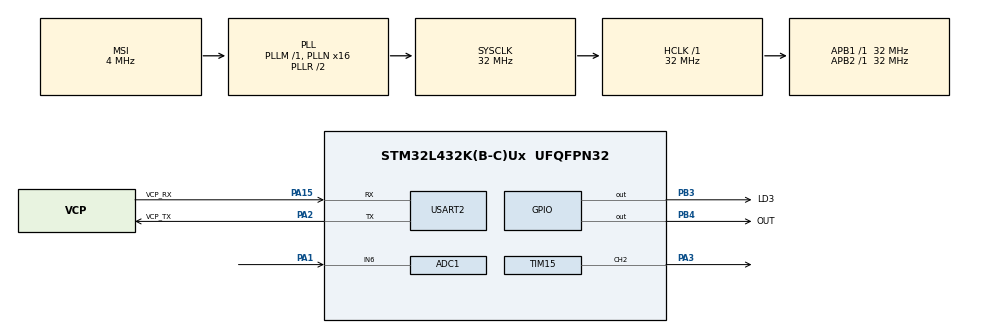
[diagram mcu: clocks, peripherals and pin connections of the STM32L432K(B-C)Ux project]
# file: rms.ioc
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ADC1.Channel-0\#ChannelRegularConversion=ADC_CHANNEL_6
ADC1.DMAContinuousRequests=ENABLE
ADC1.ExternalTrigConv=ADC_EXTERNALTRIG_T15_TRGO
ADC1.ExternalTrigConvEdge=ADC_EXTERNALTRIGCONVEDGE_FALLING
ADC1.NbrOfConversionFlag=1
ADC1.OffsetNumber-0\#ChannelRegularConversion=ADC_OFFSET_NONE
ADC1.Rank-0\#ChannelRegularConversion=1
ADC1.SamplingTime-0\#ChannelRegularConversion=ADC_SAMPLETIME_2CYCLES_5
ADC1.master=1
Dma.ADC1.0.Direction=DMA_PERIPH_TO_MEMORY
Dma.ADC1.0.Instance=DMA1_Channel1
Dma.ADC1.0.MemDataAlignment=DMA_MDATAALIGN_HALFWORD
Dma.ADC1.0.MemInc=DMA_MINC_ENABLE
Dma.ADC1.0.Mode=DMA_NORMAL
Dma.ADC1.0.PeriphDataAlignment=DMA_PDATAALIGN_HALFWORD
Dma.ADC1.0.PeriphInc=DMA_PINC_DISABLE
Dma.ADC1.0.Priority=DMA_PRIORITY_HIGH
Dma.Request0=ADC1
Mcu.Family=STM32L4
Mcu.Name=STM32L432K(B-C)Ux
Mcu.Package=UFQFPN32
NVIC.DMA1_Channel1_IRQn=true\:0\:0\:false\:false\:true\:false\:true\:true
NVIC.PriorityGroup=NVIC_PRIORITYGROUP_4
NVIC.RTC_WKUP_IRQn=true\:0\:0\:false\:false\:true\:true\:true\:true
PA0.GPIO_Label=MCO [High speed clock in]
PA0.Mode=HSE-External-Clock-Source-for-LittleOrca
PA0.Signal=RCC_CK_IN
PA1.Signal=ADCx_IN6
PA13\ (JTMS-SWDIO).GPIO_Label=SWDIO
PA13\ (JTMS-SWDIO).Mode=Serial_Wire
PA13\ (JTMS-SWDIO).Signal=SYS_JTMS-SWDIO
PA14\ (JTCK-SWCLK).GPIO_Label=SWCLK
PA14\ (JTCK-SWCLK).Mode=Serial_Wire
PA14\ (JTCK-SWCLK).Signal=SYS_JTCK-SWCLK
PA15\ (JTDI).GPIO_Label=VCP_RX
PA15\ (JTDI).Mode=Asynchronous
PA15\ (JTDI).Signal=USART2_RX
PA2.GPIO_Label=VCP_TX
PA2.Mode=Asynchronous
PA2.Signal=USART2_TX
PA3.Signal=S_TIM15_CH2
PB3\ (JTDO-TRACESWO).GPIO_Label=LD3
PB3\ (JTDO-TRACESWO).Signal=GPIO_Output
PB4\ (NJTRST).GPIO_Label=OUT
PB4\ (NJTRST).Signal=GPIO_Output
PC14-OSC32_IN\ (PC14).Mode=LSE-External-Oscillator
PC14-OSC32_IN\ (PC14).Signal=RCC_OSC32_IN
PC15-OSC32_OUT\ (PC15).Mode=LSE-External-Oscillator
PC15-OSC32_OUT\ (PC15).Signal=RCC_OSC32_OUT
ProjectManager.HeapSize=0x200
ProjectManager.StackSize=0x400
ProjectManager.TargetToolchain=Makefile
RCC.ADCFreq_Value=32000000
RCC.AHBFreq_Value=32000000
RCC.APB1Freq_Value=32000000
RCC.APB1TimFreq_Value=32000000
RCC.APB2Freq_Value=32000000
RCC.APB2TimFreq_Value=32000000
RCC.CortexFreq_Value=32000000
RCC.HCLKFreq_Value=32000000
RCC.HSE_VALUE=8000000
RCC.HSI16_VALUE=16000000
RCC.HSI48_VALUE=48000000
RCC.HSI_VALUE=16000000
RCC.MSI_VALUE=4000000
RCC.PLLMUL=RCC_PLLMUL_4
RCC.PLLN=16
RCC.PLLSAI1N=16
RCC.SYSCLKFreq_VALUE=32000000
RCC.SYSCLKSource=RCC_SYSCLKSOURCE_PLLCLK
RCC.USBFreq_Value=32000000
RCC.VCOOutputFreq_Value=64000000
RTC.WakeUpCounter=2047
SH.ADCx_IN6.0=ADC1_IN6,IN6-Single-Ended
SH.S_TIM15_CH2.0=TIM15_CH2,PWM Generation2 CH2
TIM15.Channel-PWM\ Generation2\ CH2=TIM_CHANNEL_2
TIM15.Period=4000
TIM15.Pulse-PWM\ Generation2\ CH2=320
TIM15.TIM_MasterOutputTrigger=TIM_TRGO_OC2REF
USART2.VirtualMode-Asynchronous=VM_ASYNC
VP_RTC_VS_RTC_Activate.Mode=RTC_Enabled
VP_RTC_VS_RTC_WakeUp_intern.Mode=WakeUp
board=NUCLEO-L432KC

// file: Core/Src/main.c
/* USER CODE BEGIN Header */
/**
 ******************************************************************************
 * @file           : main.c
 * @brief          : Main program body
 ******************************************************************************
 * @attention
 *
 * Copyright (c) 2026 STMicroelectronics.
 * All rights reserved.
 *
 * This software is licensed under terms that can be found in the LICENSE file
 * in the root directory of this software component.
 * If no LICENSE file comes with this software, it is provided AS-IS.
 *
 ******************************************************************************
 */
/* USER CODE END Header */
#include "main.h"

/* USER CODE BEGIN Includes */
#include <stdio.h>
#include <string.h>
#include <math.h>
/* USER CODE END Includes */

/* USER CODE BEGIN PD */
#define THRESHOLD 6
#define HOLD_TIME_MS 5000
#define REQUIRED_HITS 16
#define ADC_BUFFER_SIZE 2048
#define RTC_WAKEUP_INTERVAL 1000 // in ms
#define RTC_CLOCK_FREQUENCY (32768 / 16)
#define WUT (((RTC_WAKEUP_INTERVAL / 1000) * RTC_CLOCK_FREQUENCY) - 1)
/* USER CODE END PD */

ADC_HandleTypeDef hadc1;
DMA_HandleTypeDef hdma_adc1;

RTC_HandleTypeDef hrtc;

TIM_HandleTypeDef htim15;

UART_HandleTypeDef huart2;

/* USER CODE BEGIN PV */

volatile uint16_t adc_buffer[ADC_BUFFER_SIZE];

volatile uint8_t rtc_wakeup = 0;
volatile uint8_t dma_ready = 0;

volatile uint8_t signal_detected = 0;
volatile uint32_t last_trigger_time = 0;
uint8_t hit_counter = 0;
uint32_t rtc_ms = 0;

// CPU MESSUNG
char msg[256];

#define CPU_MEASURE_BLOCKS 10

volatile uint32_t average_processing_cycles;
volatile uint64_t total_processing_cycles = 0;
volatile uint32_t measured_blocks = 0;

volatile uint32_t min_processing_cycles = UINT32_MAX;
volatile uint32_t max_processing_cycles = 0;

volatile uint32_t average_processing_time_us = 0;
volatile uint32_t min_processing_time_us = 0;
volatile uint32_t max_processing_time_us = 0;

volatile uint32_t average_cpu_load_x100 = 0;
volatile uint32_t min_cpu_load_x100 = 0;
volatile uint32_t max_cpu_load_x100 = 0;

volatile uint32_t total_block_time_us = 0;
volatile uint32_t block_time_us = 0;
volatile uint32_t avg_block_time = 0;
/* USER CODE END PV */

void SystemClock_Config(void);
static void MX_GPIO_Init(void);
static void MX_DMA_Init(void);
static void MX_ADC1_Init(void);
static void MX_TIM15_Init(void);
static void MX_RTC_Init(void);
static void MX_USART2_UART_Init(void);

/* USER CODE BEGIN 0 */
static void DWT_Init(void)
{
  CoreDebug->DEMCR |= CoreDebug_DEMCR_TRCENA_Msk;

  DWT->CYCCNT = 0;

  DWT->CTRL |= DWT_CTRL_CYCCNTENA_Msk;
}

void HAL_RTCEx_WakeUpTimerEventCallback(RTC_HandleTypeDef *hrtc)
{
  rtc_wakeup = 1;
}

void HAL_ADC_ConvCpltCallback(ADC_HandleTypeDef *hadc)
{
  dma_ready = 1;
}

uint16_t findOffset(uint16_t *buffer, uint16_t length)
{
  uint32_t sum = 0;

  for (uint16_t i = 0; i < length; i++)
  {
    sum += buffer[i];
  }

  return sum / length;
}

uint16_t calculateRMS(uint16_t *buffer, uint16_t length, uint16_t offset)
{
  int64_t sum = 0;
  for (uint16_t i = 0; i < length; i++)
  {
    int32_t centered = (int32_t)buffer[i] - offset;

    sum += (uint64_t)(centered * centered);
  }
  return (uint16_t)sqrtf((float)sum / length);
}

void ProcessAudioBlock(uint16_t *buffer, uint16_t length)
{
  const uint16_t offset = findOffset(buffer, length);
  const uint16_t blocks = REQUIRED_HITS * 2;
  const uint16_t block_size = length / blocks;

  for (uint16_t i = 0; i < blocks; i++)
  {
    // RMS-Berechnung
    uint16_t blockRMS = calculateRMS(&buffer[i * block_size], block_size, offset);

    // Schwellwertüberschreitung
    if (blockRMS > THRESHOLD)
    {
      last_trigger_time = rtc_ms;
      if (hit_counter < REQUIRED_HITS)
      {
        hit_counter++;
      }
    }
    else
    {
      hit_counter = 0;
    }

    // Signal erkannt
    if (!signal_detected && hit_counter >= REQUIRED_HITS)
    {
      signal_detected = 1;
      HAL_GPIO_WritePin(OUT_GPIO_Port, OUT_Pin, GPIO_PIN_SET);
    }

    // Wenn 5s kein Signal -> OFF
    if (signal_detected && (rtc_ms - last_trigger_time > HOLD_TIME_MS))
    {
      signal_detected = 0;
      HAL_GPIO_WritePin(OUT_GPIO_Port, OUT_Pin, GPIO_PIN_RESET);
    }
  }
}
/* USER CODE END 0 */

int main(void)
{

  /* MCU Configuration--------------------------------------------------------*/

  /* Reset of all peripherals, Initializes the Flash interface and the Systick. */
  HAL_Init();

  /* Configure the system clock */
  SystemClock_Config();

  /* Initialize all configured peripherals */
  MX_GPIO_Init();
  MX_DMA_Init();
  MX_ADC1_Init();
  MX_TIM15_Init();
  MX_RTC_Init();
  MX_USART2_UART_Init();
  /* USER CODE BEGIN 2 */
  HAL_RTCEx_SetWakeUpTimer_IT(&hrtc, WUT, RTC_WAKEUPCLOCK_RTCCLK_DIV16);
  DWT_Init();

  int str = snprintf(
      msg,
      sizeof(msg),
      "blocks;avg_cycles;min_cycles;max_cycles;"
      "avg_us;min_us;max_us;"
      "avg_load;min_load;max_load;avg_block_time\r\n");

  HAL_UART_Transmit(
      &huart2,
      (uint8_t *)msg,
      str,
      HAL_MAX_DELAY);

  /* USER CODE END 2 */

  /* Infinite loop */
  /* USER CODE BEGIN WHILE */
  while (1)
  {
    if (rtc_wakeup)
    {
      rtc_ms += RTC_WAKEUP_INTERVAL;
      HAL_TIM_PWM_Start(&htim15, TIM_CHANNEL_2);
      HAL_ADC_Start_DMA(&hadc1, (uint32_t *)adc_buffer, ADC_BUFFER_SIZE);
      rtc_wakeup = 0;
    }

    if (dma_ready)
    {
      HAL_ADC_Stop_DMA(&hadc1);
      HAL_TIM_PWM_Stop(&htim15, TIM_CHANNEL_2);
      dma_ready = 0;
      uint32_t start = DWT->CYCCNT;
      ProcessAudioBlock((uint16_t *)adc_buffer, ADC_BUFFER_SIZE);
      uint32_t cycles = DWT->CYCCNT - start;
      block_time_us = HAL_GetTick() - block_time_us;
      // Messwerte sammeln

      total_processing_cycles += cycles;
      measured_blocks++;
      total_block_time_us += block_time_us;
      // Minimum
      if (cycles < min_processing_cycles)
      {
        min_processing_cycles = cycles;
      }

      // Maximum
      if (cycles > max_processing_cycles)
      {
        max_processing_cycles = cycles;
      }

      // Mittelwerte berechnen

      if (measured_blocks >= CPU_MEASURE_BLOCKS)
      {
        /* Durchschnittliche CPU-Zyklen */
        average_processing_cycles = total_processing_cycles / measured_blocks;

        avg_block_time = total_block_time_us / measured_blocks;

        // Zyklen -> Zeit in Mikrosekunden

        average_processing_time_us =
            (uint32_t)(((uint64_t)average_processing_cycles * 1000000ULL) / SystemCoreClock);

        min_processing_time_us =
            (uint32_t)(((uint64_t)min_processing_cycles * 1000000ULL) / SystemCoreClock);

        max_processing_time_us =
            (uint32_t)(((uint64_t)max_processing_cycles * 1000000ULL) / SystemCoreClock);

        // CPU-Auslastung

        average_cpu_load_x100 =
            (uint32_t)(((uint64_t)average_processing_time_us * 10000ULL) / (avg_block_time * 1000UL));

        min_cpu_load_x100 =
            (uint32_t)(((uint64_t)min_processing_time_us * 10000ULL) / (avg_block_time * 1000UL));

        max_cpu_load_x100 =
            (uint32_t)(((uint64_t)max_processing_time_us * 10000ULL) / (avg_block_time * 1000UL));

        int len = snprintf(
            msg,
            sizeof(msg),
            "%lu;"
            "%lu;"
            "%lu;"
            "%lu;"
            "%lu;"
            "%lu;"
            "%lu;"
            "%lu,%02lu%%;"
            "%lu,%02lu%%;"
            "%lu,%02lu%%;"
            "%lu\r\n",

            (unsigned long)CPU_MEASURE_BLOCKS,

            (unsigned long)average_processing_cycles,
            (unsigned long)min_processing_cycles,
            (unsigned long)max_processing_cycles,

            (unsigned long)average_processing_time_us,
            (unsigned long)min_processing_time_us,
            (unsigned long)max_processing_time_us,

            (unsigned long)(average_cpu_load_x100 / 100),
            (unsigned long)(average_cpu_load_x100 % 100),

            (unsigned long)(min_cpu_load_x100 / 100),
            (unsigned long)(min_cpu_load_x100 % 100),

            (unsigned long)(max_cpu_load_x100 / 100),
            (unsigned long)(max_cpu_load_x100 % 100),

            (unsigned long)(avg_block_time));

        HAL_UART_Transmit(
            &huart2,
            (uint8_t *)msg,
            len,
            HAL_MAX_DELAY);

        // Messwerte zurücksetzen
        total_block_time_us = 0;
        total_processing_cycles = 0;
        measured_blocks = 0;

        min_processing_cycles = UINT32_MAX;
        max_processing_cycles = 0;
        total_block_time_us = 0;
      }
    }
    // Energieoptimierung
    HAL_SuspendTick();
    HAL_PWR_EnterSLEEPMode(PWR_LOWPOWERREGULATOR_ON, PWR_SLEEPENTRY_WFI);
    HAL_ResumeTick();
    /* USER CODE END WHILE */

  }
}

void SystemClock_Config(void)
{
  RCC_OscInitTypeDef RCC_OscInitStruct = {0};
  RCC_ClkInitTypeDef RCC_ClkInitStruct = {0};

  /** Configure the main internal regulator output voltage
   */
  if (HAL_PWREx_ControlVoltageScaling(PWR_REGULATOR_VOLTAGE_SCALE1) != HAL_OK)
  {
    Error_Handler();
  }

  /** Configure LSE Drive Capability
   */
  HAL_PWR_EnableBkUpAccess();
  __HAL_RCC_LSEDRIVE_CONFIG(RCC_LSEDRIVE_LOW);

  /** Initializes the RCC Oscillators according to the specified parameters
   * in the RCC_OscInitTypeDef structure.
   */
  RCC_OscInitStruct.OscillatorType = RCC_OSCILLATORTYPE_LSI | RCC_OSCILLATORTYPE_LSE | RCC_OSCILLATORTYPE_MSI;
  RCC_OscInitStruct.LSEState = RCC_LSE_ON;
  RCC_OscInitStruct.LSIState = RCC_LSI_ON;
  RCC_OscInitStruct.MSIState = RCC_MSI_ON;
  RCC_OscInitStruct.MSICalibrationValue = 0;
  RCC_OscInitStruct.MSIClockRange = RCC_MSIRANGE_6;
  RCC_OscInitStruct.PLL.PLLState = RCC_PLL_ON;
  RCC_OscInitStruct.PLL.PLLSource = RCC_PLLSOURCE_MSI;
  RCC_OscInitStruct.PLL.PLLM = 1;
  RCC_OscInitStruct.PLL.PLLN = 16;
  RCC_OscInitStruct.PLL.PLLP = RCC_PLLP_DIV7;
  RCC_OscInitStruct.PLL.PLLQ = RCC_PLLQ_DIV2;
  RCC_OscInitStruct.PLL.PLLR = RCC_PLLR_DIV2;
  if (HAL_RCC_OscConfig(&RCC_OscInitStruct) != HAL_OK)
  {
    Error_Handler();
  }

  /** Initializes the CPU, AHB and APB buses clocks
   */
  RCC_ClkInitStruct.ClockType = RCC_CLOCKTYPE_HCLK | RCC_CLOCKTYPE_SYSCLK | RCC_CLOCKTYPE_PCLK1 | RCC_CLOCKTYPE_PCLK2;
  RCC_ClkInitStruct.SYSCLKSource = RCC_SYSCLKSOURCE_PLLCLK;
  RCC_ClkInitStruct.AHBCLKDivider = RCC_SYSCLK_DIV1;
  RCC_ClkInitStruct.APB1CLKDivider = RCC_HCLK_DIV1;
  RCC_ClkInitStruct.APB2CLKDivider = RCC_HCLK_DIV1;

  if (HAL_RCC_ClockConfig(&RCC_ClkInitStruct, FLASH_LATENCY_1) != HAL_OK)
  {
    Error_Handler();
  }

  /** Enable MSI Auto calibration
   */
  HAL_RCCEx_EnableMSIPLLMode();
}

static void MX_ADC1_Init(void)
{

  ADC_ChannelConfTypeDef sConfig = {0};

  /** Common config
   */
  hadc1.Instance = ADC1;
  hadc1.Init.ClockPrescaler = ADC_CLOCK_ASYNC_DIV1;
  hadc1.Init.Resolution = ADC_RESOLUTION_12B;
  hadc1.Init.DataAlign = ADC_DATAALIGN_RIGHT;
  hadc1.Init.ScanConvMode = ADC_SCAN_DISABLE;
  hadc1.Init.EOCSelection = ADC_EOC_SINGLE_CONV;
  hadc1.Init.LowPowerAutoWait = DISABLE;
  hadc1.Init.ContinuousConvMode = DISABLE;
  hadc1.Init.NbrOfConversion = 1;
  hadc1.Init.DiscontinuousConvMode = DISABLE;
  hadc1.Init.ExternalTrigConv = ADC_EXTERNALTRIG_T15_TRGO;
  hadc1.Init.ExternalTrigConvEdge = ADC_EXTERNALTRIGCONVEDGE_FALLING;
  hadc1.Init.DMAContinuousRequests = ENABLE;
  hadc1.Init.Overrun = ADC_OVR_DATA_PRESERVED;
  hadc1.Init.OversamplingMode = DISABLE;
  if (HAL_ADC_Init(&hadc1) != HAL_OK)
  {
    Error_Handler();
  }

  /** Configure Regular Channel
   */
  sConfig.Channel = ADC_CHANNEL_6;
  sConfig.Rank = ADC_REGULAR_RANK_1;
  sConfig.SamplingTime = ADC_SAMPLETIME_2CYCLES_5;
  sConfig.SingleDiff = ADC_SINGLE_ENDED;
  sConfig.OffsetNumber = ADC_OFFSET_NONE;
  sConfig.Offset = 0;
  if (HAL_ADC_ConfigChannel(&hadc1, &sConfig) != HAL_OK)
  {
    Error_Handler();
  }
}

static void MX_RTC_Init(void)
{

  /** Initialize RTC Only
   */
  hrtc.Instance = RTC;
  hrtc.Init.HourFormat = RTC_HOURFORMAT_24;
  hrtc.Init.AsynchPrediv = 127;
  hrtc.Init.SynchPrediv = 255;
  hrtc.Init.OutPut = RTC_OUTPUT_DISABLE;
  hrtc.Init.OutPutRemap = RTC_OUTPUT_REMAP_NONE;
  hrtc.Init.OutPutPolarity = RTC_OUTPUT_POLARITY_HIGH;
  hrtc.Init.OutPutType = RTC_OUTPUT_TYPE_OPENDRAIN;
  if (HAL_RTC_Init(&hrtc) != HAL_OK)
  {
    Error_Handler();
  }
}

static void MX_TIM15_Init(void)
{

  TIM_MasterConfigTypeDef sMasterConfig = {0};
  TIM_OC_InitTypeDef sConfigOC = {0};
  TIM_BreakDeadTimeConfigTypeDef sBreakDeadTimeConfig = {0};

  htim15.Instance = TIM15;
  htim15.Init.Prescaler = 0;
  htim15.Init.CounterMode = TIM_COUNTERMODE_UP;
  htim15.Init.Period = 4000;
  htim15.Init.ClockDivision = TIM_CLOCKDIVISION_DIV1;
  htim15.Init.RepetitionCounter = 0;
  htim15.Init.AutoReloadPreload = TIM_AUTORELOAD_PRELOAD_DISABLE;
  if (HAL_TIM_PWM_Init(&htim15) != HAL_OK)
  {
    Error_Handler();
  }
  sMasterConfig.MasterOutputTrigger = TIM_TRGO_OC2REF;
  sMasterConfig.MasterSlaveMode = TIM_MASTERSLAVEMODE_DISABLE;
  if (HAL_TIMEx_MasterConfigSynchronization(&htim15, &sMasterConfig) != HAL_OK)
  {
    Error_Handler();
  }
  sConfigOC.OCMode = TIM_OCMODE_PWM1;
  sConfigOC.Pulse = 320;
  sConfigOC.OCPolarity = TIM_OCPOLARITY_HIGH;
  sConfigOC.OCNPolarity = TIM_OCNPOLARITY_HIGH;
  sConfigOC.OCFastMode = TIM_OCFAST_DISABLE;
  sConfigOC.OCIdleState = TIM_OCIDLESTATE_RESET;
  sConfigOC.OCNIdleState = TIM_OCNIDLESTATE_RESET;
  if (HAL_TIM_PWM_ConfigChannel(&htim15, &sConfigOC, TIM_CHANNEL_2) != HAL_OK)
  {
    Error_Handler();
  }
  sBreakDeadTimeConfig.OffStateRunMode = TIM_OSSR_DISABLE;
  sBreakDeadTimeConfig.OffStateIDLEMode = TIM_OSSI_DISABLE;
  sBreakDeadTimeConfig.LockLevel = TIM_LOCKLEVEL_OFF;
  sBreakDeadTimeConfig.DeadTime = 0;
  sBreakDeadTimeConfig.BreakState = TIM_BREAK_DISABLE;
  sBreakDeadTimeConfig.BreakPolarity = TIM_BREAKPOLARITY_HIGH;
  sBreakDeadTimeConfig.AutomaticOutput = TIM_AUTOMATICOUTPUT_DISABLE;
  if (HAL_TIMEx_ConfigBreakDeadTime(&htim15, &sBreakDeadTimeConfig) != HAL_OK)
  {
    Error_Handler();
  }
  HAL_TIM_MspPostInit(&htim15);
}

static void MX_USART2_UART_Init(void)
{

  huart2.Instance = USART2;
  huart2.Init.BaudRate = 115200;
  huart2.Init.WordLength = UART_WORDLENGTH_8B;
  huart2.Init.StopBits = UART_STOPBITS_1;
  huart2.Init.Parity = UART_PARITY_NONE;
  huart2.Init.Mode = UART_MODE_TX_RX;
  huart2.Init.HwFlowCtl = UART_HWCONTROL_NONE;
  huart2.Init.OverSampling = UART_OVERSAMPLING_16;
  huart2.Init.OneBitSampling = UART_ONE_BIT_SAMPLE_DISABLE;
  huart2.AdvancedInit.AdvFeatureInit = UART_ADVFEATURE_NO_INIT;
  if (HAL_UART_Init(&huart2) != HAL_OK)
  {
    Error_Handler();
  }
}

static void MX_DMA_Init(void)
{

  /* DMA controller clock enable */
  __HAL_RCC_DMA1_CLK_ENABLE();

  /* DMA interrupt init */
  /* DMA1_Channel1_IRQn interrupt configuration */
  HAL_NVIC_SetPriority(DMA1_Channel1_IRQn, 0, 0);
  HAL_NVIC_EnableIRQ(DMA1_Channel1_IRQn);
}

static void MX_GPIO_Init(void)
{
  GPIO_InitTypeDef GPIO_InitStruct = {0};

  /* GPIO Ports Clock Enable */
  __HAL_RCC_GPIOC_CLK_ENABLE();
  __HAL_RCC_GPIOA_CLK_ENABLE();
  __HAL_RCC_GPIOB_CLK_ENABLE();

  /*Configure GPIO pin Output Level */
  HAL_GPIO_WritePin(GPIOB, LD3_Pin | OUT_Pin, GPIO_PIN_RESET);

  /*Configure GPIO pins : LD3_Pin OUT_Pin */
  GPIO_InitStruct.Pin = LD3_Pin | OUT_Pin;
  GPIO_InitStruct.Mode = GPIO_MODE_OUTPUT_PP;
  GPIO_InitStruct.Pull = GPIO_NOPULL;
  GPIO_InitStruct.Speed = GPIO_SPEED_FREQ_LOW;
  HAL_GPIO_Init(GPIOB, &GPIO_InitStruct);

}

void Error_Handler(void)
{
  __disable_irq();
  while (1)
  {
  }
}
